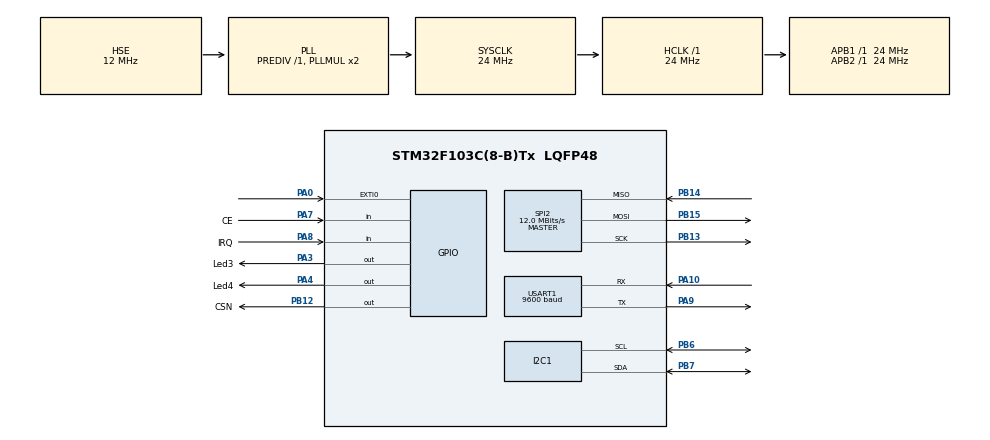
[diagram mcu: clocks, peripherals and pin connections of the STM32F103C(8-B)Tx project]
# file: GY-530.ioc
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Mcu.Family=STM32F1
Mcu.Name=STM32F103C(8-B)Tx
Mcu.Package=LQFP48
NVIC.EXTI0_IRQn=true\:1\:0\:true\:false\:true\:true\:true
NVIC.PriorityGroup=NVIC_PRIORITYGROUP_4
NVIC.SPI2_IRQn=true\:2\:0\:true\:false\:true\:true\:true
NVIC.USART1_IRQn=true\:2\:0\:true\:false\:true\:true\:true
PA0-WKUP.Signal=GPXTI0
PA10.Mode=Asynchronous
PA10.Signal=USART1_RX
PA13.Mode=Trace_Asynchronous_SW
PA13.Signal=SYS_JTMS-SWDIO
PA14.Mode=Trace_Asynchronous_SW
PA14.Signal=SYS_JTCK-SWCLK
PA3.GPIO_Label=Led3
PA3.Signal=GPIO_Output
PA4.GPIO_Label=Led4
PA4.Signal=GPIO_Output
PA7.GPIO_Label=CE
PA7.Signal=GPIO_Input
PA8.GPIO_Label=IRQ
PA8.Signal=GPIO_Input
PA9.Mode=Asynchronous
PA9.Signal=USART1_TX
PB12.GPIO_Label=CSN
PB12.Signal=GPIO_Output
PB13.Mode=Full_Duplex_Master
PB13.Signal=SPI2_SCK
PB14.Mode=Full_Duplex_Master
PB14.Signal=SPI2_MISO
PB15.Mode=Full_Duplex_Master
PB15.Signal=SPI2_MOSI
PB3.Mode=Trace_Asynchronous_SW
PB3.Signal=SYS_JTDO-TRACESWO
PB6.Mode=I2C
PB6.Signal=I2C1_SCL
PB7.Mode=I2C
PB7.Signal=I2C1_SDA
PD0-OSC_IN.Mode=HSE-External-Oscillator
PD0-OSC_IN.Signal=RCC_OSC_IN
PD1-OSC_OUT.Mode=HSE-External-Oscillator
PD1-OSC_OUT.Signal=RCC_OSC_OUT
ProjectManager.HeapSize=0x200
ProjectManager.StackSize=0x400
ProjectManager.TargetToolchain=MDK-ARM V5
RCC.AHBFreq_Value=24000000
RCC.APB1Freq_Value=24000000
RCC.APB1TimFreq_Value=24000000
RCC.APB2Freq_Value=24000000
RCC.APB2TimFreq_Value=24000000
RCC.HCLKFreq_Value=24000000
RCC.HSE_VALUE=12000000
RCC.PLLSourceVirtual=RCC_PLLSOURCE_HSE
RCC.SYSCLKFreq_VALUE=24000000
RCC.SYSCLKSource=RCC_SYSCLKSOURCE_PLLCLK
RCC.USBFreq_Value=24000000
SPI2.BaudRatePrescaler=SPI_BAUDRATEPRESCALER_2
SPI2.CalculateBaudRate=12.0 MBits/s
SPI2.Direction=SPI_DIRECTION_2LINES
SPI2.Mode=SPI_MODE_MASTER
SPI2.VirtualType=VM_MASTER
USART1.BaudRate=9600
USART1.VirtualMode=VM_ASYNC
VP_TIM3_VS_ClockSourceINT.Mode=Internal
board=custom

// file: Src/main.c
/* USER CODE BEGIN Header */
/**

  */
/* USER CODE END Header */

#include "main.h"

/* USER CODE BEGIN Includes */
#include "Robik.h"
/* USER CODE END Includes */

/* USER CODE BEGIN PTD */

		uint8_t temp_buf[10]={0};
		uint8_t nRF24_payload[32]={0};
		uint32_t temp_dist=0;
		uint8_t test=100;
		extern uint8_t SerialModule[4];

/* USER CODE END PTD */

I2C_HandleTypeDef hi2c1;

SPI_HandleTypeDef hspi2;

TIM_HandleTypeDef htim3;

UART_HandleTypeDef huart1;

void SystemClock_Config(void);
static void MX_GPIO_Init(void);
static void MX_USART1_UART_Init(void);
static void MX_SPI2_Init(void);
static void MX_TIM3_Init(void);
static void MX_I2C1_Init(void);

/* USER CODE BEGIN 0 */
	static VL53L0X_Error initSensor( VL53L0X_Dev_t * device );

	// Buffer to store a payload of maximum width

// Pipe number
nRF24_RXResult pipe;

/* USER CODE END 0 */

int main(void)
{
  /* USER CODE BEGIN 1 */
			volatile uint32_t *UniqueID = (uint32_t *)0x1FFFF7E8;
	volatile uint32_t __UniqueID[3];
	__UniqueID[0] = UniqueID[0];
	__UniqueID[1] = UniqueID[1];
	__UniqueID[2] = UniqueID[2];

	SerialModule[0]=__UniqueID[2];
	SerialModule[1]=__UniqueID[2]>>8;
	SerialModule[2]=__UniqueID[2]>>16;
	SerialModule[3]=__UniqueID[2]>>24;
//void SerialNumbFunc();
  /* USER CODE END 1 */

  /* MCU Configuration--------------------------------------------------------*/

  /* Reset of all peripherals, Initializes the Flash interface and the Systick. */
  HAL_Init();

  /* Configure the system clock */
  SystemClock_Config();

  /* Initialize all configured peripherals */
  MX_GPIO_Init();
  MX_USART1_UART_Init();
  MX_SPI2_Init();
  MX_TIM3_Init();
  MX_I2C1_Init();
  /* USER CODE BEGIN 2 */

OnAction();

static VL53L0X_Dev_t device;
static volatile uint16_t res = 0;

    device.I2cHandle=&hi2c1;
    device.I2cDevAddr=0x52;
    device.Present=0;
    device.Id=0;

		HAL_Delay(3000);
		while(initSensor( &device )!=0)
		{
		test++;
		}

 static uint8_t data_ready;
 static VL53L0X_RangingMeasurementData_t result;
 static VL53L0X_Error Status;

 HAL_TIM_PWM_Start(&htim3, TIM_CHANNEL_2);

 NRF_tuning();

  /* USER CODE END 2 */

  /* Infinite loop */
  /* USER CODE BEGIN WHILE */
  while (1)
{

		for( uint8_t i=0;i<2;i++){

			        Status=VL53L0X_GetMeasurementDataReady(&device, &data_ready);

        if( Status == VL53L0X_ERROR_NONE )
        {
            Status = VL53L0X_GetRangingMeasurementData(&device, &result);

            if (Status == VL53L0X_ERROR_NONE)
            {
                Status = VL53L0X_ClearInterruptMask(&device,0);
            }
        }

	temp_dist+=result.RangeMilliMeter/10;

			}
		temp_buf[4]=temp_dist/2-1;

			if(result.RangeStatus==0){

				temp_buf[5]=0;
			}
			else{
			temp_buf[5]=1;
			}

TransmitComand(4,temp_buf);

temp_dist	=0;

    /* USER CODE END WHILE */

    /* USER CODE BEGIN 3 */
  }

	HAL_Delay(300);

  /* USER CODE END 3 */
}

void SystemClock_Config(void)
{
  RCC_OscInitTypeDef RCC_OscInitStruct = {0};
  RCC_ClkInitTypeDef RCC_ClkInitStruct = {0};

  /** Initializes the CPU, AHB and APB busses clocks
  */
  RCC_OscInitStruct.OscillatorType = RCC_OSCILLATORTYPE_HSE;
  RCC_OscInitStruct.HSEState = RCC_HSE_ON;
  RCC_OscInitStruct.HSEPredivValue = RCC_HSE_PREDIV_DIV1;
  RCC_OscInitStruct.HSIState = RCC_HSI_ON;
  RCC_OscInitStruct.PLL.PLLState = RCC_PLL_ON;
  RCC_OscInitStruct.PLL.PLLSource = RCC_PLLSOURCE_HSE;
  RCC_OscInitStruct.PLL.PLLMUL = RCC_PLL_MUL2;
  if (HAL_RCC_OscConfig(&RCC_OscInitStruct) != HAL_OK)
  {
    Error_Handler();
  }
  /** Initializes the CPU, AHB and APB busses clocks
  */
  RCC_ClkInitStruct.ClockType = RCC_CLOCKTYPE_HCLK|RCC_CLOCKTYPE_SYSCLK
                              |RCC_CLOCKTYPE_PCLK1|RCC_CLOCKTYPE_PCLK2;
  RCC_ClkInitStruct.SYSCLKSource = RCC_SYSCLKSOURCE_PLLCLK;
  RCC_ClkInitStruct.AHBCLKDivider = RCC_SYSCLK_DIV1;
  RCC_ClkInitStruct.APB1CLKDivider = RCC_HCLK_DIV1;
  RCC_ClkInitStruct.APB2CLKDivider = RCC_HCLK_DIV1;

  if (HAL_RCC_ClockConfig(&RCC_ClkInitStruct, FLASH_LATENCY_0) != HAL_OK)
  {
    Error_Handler();
  }
}

static void MX_I2C1_Init(void)
{

  hi2c1.Instance = I2C1;
  hi2c1.Init.ClockSpeed = 100000;
  hi2c1.Init.DutyCycle = I2C_DUTYCYCLE_2;
  hi2c1.Init.OwnAddress1 = 0;
  hi2c1.Init.AddressingMode = I2C_ADDRESSINGMODE_7BIT;
  hi2c1.Init.DualAddressMode = I2C_DUALADDRESS_DISABLE;
  hi2c1.Init.OwnAddress2 = 0;
  hi2c1.Init.GeneralCallMode = I2C_GENERALCALL_DISABLE;
  hi2c1.Init.NoStretchMode = I2C_NOSTRETCH_DISABLE;
  if (HAL_I2C_Init(&hi2c1) != HAL_OK)
  {
    Error_Handler();
  }

}

static void MX_SPI2_Init(void)
{

  /* SPI2 parameter configuration*/
  hspi2.Instance = SPI2;
  hspi2.Init.Mode = SPI_MODE_MASTER;
  hspi2.Init.Direction = SPI_DIRECTION_2LINES;
  hspi2.Init.DataSize = SPI_DATASIZE_8BIT;
  hspi2.Init.CLKPolarity = SPI_POLARITY_LOW;
  hspi2.Init.CLKPhase = SPI_PHASE_1EDGE;
  hspi2.Init.NSS = SPI_NSS_SOFT;
  hspi2.Init.BaudRatePrescaler = SPI_BAUDRATEPRESCALER_2;
  hspi2.Init.FirstBit = SPI_FIRSTBIT_MSB;
  hspi2.Init.TIMode = SPI_TIMODE_DISABLE;
  hspi2.Init.CRCCalculation = SPI_CRCCALCULATION_DISABLE;
  hspi2.Init.CRCPolynomial = 10;
  if (HAL_SPI_Init(&hspi2) != HAL_OK)
  {
    Error_Handler();
  }

}

static void MX_TIM3_Init(void)
{

  TIM_ClockConfigTypeDef sClockSourceConfig = {0};
  TIM_MasterConfigTypeDef sMasterConfig = {0};

  htim3.Instance = TIM3;
  htim3.Init.Prescaler = 0;
  htim3.Init.CounterMode = TIM_COUNTERMODE_UP;
  htim3.Init.Period = 0;
  htim3.Init.ClockDivision = TIM_CLOCKDIVISION_DIV1;
  htim3.Init.AutoReloadPreload = TIM_AUTORELOAD_PRELOAD_DISABLE;
  if (HAL_TIM_Base_Init(&htim3) != HAL_OK)
  {
    Error_Handler();
  }
  sClockSourceConfig.ClockSource = TIM_CLOCKSOURCE_INTERNAL;
  if (HAL_TIM_ConfigClockSource(&htim3, &sClockSourceConfig) != HAL_OK)
  {
    Error_Handler();
  }
  sMasterConfig.MasterOutputTrigger = TIM_TRGO_RESET;
  sMasterConfig.MasterSlaveMode = TIM_MASTERSLAVEMODE_DISABLE;
  if (HAL_TIMEx_MasterConfigSynchronization(&htim3, &sMasterConfig) != HAL_OK)
  {
    Error_Handler();
  }

}

static void MX_USART1_UART_Init(void)
{

  huart1.Instance = USART1;
  huart1.Init.BaudRate = 9600;
  huart1.Init.WordLength = UART_WORDLENGTH_8B;
  huart1.Init.StopBits = UART_STOPBITS_1;
  huart1.Init.Parity = UART_PARITY_NONE;
  huart1.Init.Mode = UART_MODE_TX_RX;
  huart1.Init.HwFlowCtl = UART_HWCONTROL_NONE;
  huart1.Init.OverSampling = UART_OVERSAMPLING_16;
  if (HAL_UART_Init(&huart1) != HAL_OK)
  {
    Error_Handler();
  }

}

static void MX_GPIO_Init(void)
{
  GPIO_InitTypeDef GPIO_InitStruct = {0};

  /* GPIO Ports Clock Enable */
  __HAL_RCC_GPIOD_CLK_ENABLE();
  __HAL_RCC_GPIOA_CLK_ENABLE();
  __HAL_RCC_GPIOB_CLK_ENABLE();

  /*Configure GPIO pin Output Level */
  HAL_GPIO_WritePin(GPIOA, Led3_Pin|Led4_Pin, GPIO_PIN_RESET);

  /*Configure GPIO pin Output Level */
  HAL_GPIO_WritePin(CSN_GPIO_Port, CSN_Pin, GPIO_PIN_RESET);

  /*Configure GPIO pin : PA0 */
  GPIO_InitStruct.Pin = GPIO_PIN_0;
  GPIO_InitStruct.Mode = GPIO_MODE_IT_RISING;
  GPIO_InitStruct.Pull = GPIO_NOPULL;
  HAL_GPIO_Init(GPIOA, &GPIO_InitStruct);

  /*Configure GPIO pins : Led3_Pin Led4_Pin */
  GPIO_InitStruct.Pin = Led3_Pin|Led4_Pin;
  GPIO_InitStruct.Mode = GPIO_MODE_OUTPUT_PP;
  GPIO_InitStruct.Pull = GPIO_NOPULL;
  GPIO_InitStruct.Speed = GPIO_SPEED_FREQ_LOW;
  HAL_GPIO_Init(GPIOA, &GPIO_InitStruct);

  /*Configure GPIO pins : CE_Pin IRQ_Pin */
  GPIO_InitStruct.Pin = CE_Pin|IRQ_Pin;
  GPIO_InitStruct.Mode = GPIO_MODE_INPUT;
  GPIO_InitStruct.Pull = GPIO_NOPULL;
  HAL_GPIO_Init(GPIOA, &GPIO_InitStruct);

  /*Configure GPIO pin : CSN_Pin */
  GPIO_InitStruct.Pin = CSN_Pin;
  GPIO_InitStruct.Mode = GPIO_MODE_OUTPUT_PP;
  GPIO_InitStruct.Pull = GPIO_NOPULL;
  GPIO_InitStruct.Speed = GPIO_SPEED_FREQ_LOW;
  HAL_GPIO_Init(CSN_GPIO_Port, &GPIO_InitStruct);

  /* EXTI interrupt init*/
  HAL_NVIC_SetPriority(EXTI0_IRQn, 1, 0);
  HAL_NVIC_EnableIRQ(EXTI0_IRQn);

}

/* USER CODE BEGIN 4 */

static VL53L0X_Error initSensor( VL53L0X_Dev_t * device )
{
    VL53L0X_Error Status=VL53L0X_ERROR_NONE;

    static uint32_t refSpadCount     = 0;                  //??? ???????? ???????????? ????????
    static uint8_t  isApertureSpads  = 0;                   //??? ???????? ???????????? ????????
    static uint8_t  VhvSettings      = 0;                     //??? ???????? ???????????? ????????
    static uint8_t  PhaseCal         = 0;                     //??? ???????? ???????????? ????????

    if (Status == VL53L0X_ERROR_NONE)
    {
        Status=VL53L0X_SetDeviceAddress( device, 0x51 );
        device->I2cDevAddr=0x51;

    }

    if (Status == VL53L0X_ERROR_NONE)
    {
        Status=VL53L0X_DataInit( device );

    }

    if (Status == VL53L0X_ERROR_NONE)
    {
        Status=VL53L0X_StaticInit( device );

    }

    if (Status == VL53L0X_ERROR_NONE)
    {
        Status = VL53L0X_PerformRefSpadManagement( device, &refSpadCount, &isApertureSpads);
			;
    }

    if (Status == VL53L0X_ERROR_NONE)
    {
        Status = VL53L0X_PerformRefCalibration( device, &VhvSettings, &PhaseCal);

    }

    if (Status == VL53L0X_ERROR_NONE)
    {
        Status=VL53L0X_SetReferenceSpads( device, refSpadCount, isApertureSpads);

    }

    if (Status == VL53L0X_ERROR_NONE)
    {
        Status=VL53L0X_SetRefCalibration( device, VhvSettings, PhaseCal);

    }

    if (Status == VL53L0X_ERROR_NONE)
    {
        Status=VL53L0X_SetDeviceMode( device, VL53L0X_DEVICEMODE_CONTINUOUS_RANGING);

    }

    if (Status == VL53L0X_ERROR_NONE)
    {
        Status = VL53L0X_SetLimitCheckValue( device, VL53L0X_CHECKENABLE_SIGNAL_RATE_FINAL_RANGE, (FixPoint1616_t)(0.25*65536) );

    }

    if (Status == VL53L0X_ERROR_NONE)
    {
        Status = VL53L0X_SetLimitCheckValue( device, VL53L0X_CHECKENABLE_SIGMA_FINAL_RANGE, (FixPoint1616_t)(32*65536) );

    }

    if (Status == VL53L0X_ERROR_NONE)
    {
        Status =VL53L0X_SetMeasurementTimingBudgetMicroSeconds( device,	20000 );

    }

    if (Status == VL53L0X_ERROR_NONE)
    {
        Status=VL53L0X_StartMeasurement( device );

    }

    return Status;
}

/* USER CODE END 4 */

void Error_Handler(void)
{
}

/************************ (C) COPYRIGHT STMicroelectronics *****END OF FILE****/
